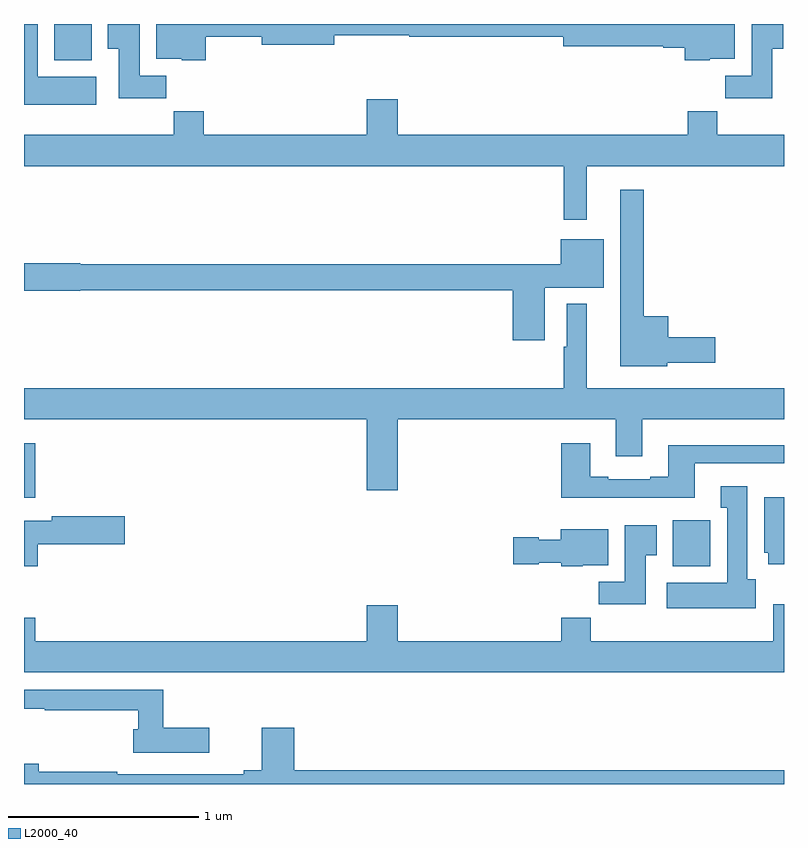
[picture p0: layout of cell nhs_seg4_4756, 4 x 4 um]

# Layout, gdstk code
import gdstk
lib = gdstk.Library(unit=1e-6, precision=1e-09)
def R(c, l, rs):  # rectangles x0, y0, x1, y1
    for r in rs: c.add(gdstk.rectangle(r[:2], r[2:], *l))
def P(c, l, *ps):  # polygons
    for p in ps: c.add(gdstk.Polygon(p, *l))
L2000_40 = (2000, 40)

nhs_seg4_4756 = lib.new_cell('nhs_seg4_4756')
R(nhs_seg4_4756, L2000_40, [(370.415,796.046,370.612,796.288), (367,796.406,367.058,796.693), (367.16,798.71,367.357,798.9)])
P(nhs_seg4_4756, L2000_40, [(367.748,798.628),(367.609,798.628),(367.609,798.9),(367.442,798.9),(367.442,798.769),(367.499,798.769),(367.499,798.51),(367.748,798.51)],
  [(367.381,798.622),(367.072,798.622),(367.072,798.9),(367,798.9),(367,798.476),(367.381,798.476)],
  [(370.939,798.769),(370.996,798.769),(370.996,798.9),(370.829,798.9),(370.829,798.628),(370.69,798.628),(370.69,798.51),(370.939,798.51)],
  [(367.956,798.832),(368.252,798.832),(368.252,798.79),(368.632,798.79),(368.632,798.84),(369.028,798.84),(369.028,798.832),(369.837,798.832),(369.837,798.783),(370.365,798.783),(370.365,798.775),(370.478,798.775),(370.478,798.71),(370.608,798.71),(370.608,798.716),(370.741,798.716),(370.741,798.9),(367.697,798.9),(367.697,798.716),(367.83,798.716),(367.83,798.71),(367.956,798.71)],
  [(369.961,798.152),(371,798.152),(371,798.316),(370.649,798.316),(370.649,798.44),(370.493,798.44),(370.493,798.316),(368.968,798.316),(368.968,798.505),(368.804,798.505),(368.804,798.316),(367.946,798.316),(367.946,798.44),(367.789,798.44),(367.789,798.316),(367,798.316),(367,798.152),(369.84,798.152),(369.84,797.871),(369.961,797.871)],
  [(370.386,797.117),(370.639,797.117),(370.639,797.252),(370.39,797.252),(370.39,797.362),(370.261,797.362),(370.261,798.028),(370.139,798.028),(370.139,797.099),(370.386,797.099)],
  [(369.742,797.513),(370.051,797.513),(370.051,797.767),(369.824,797.767),(369.824,797.636),(367.296,797.636),(367.296,797.642),(367,797.642),(367,797.495),(367.296,797.495),(367.296,797.5),(369.572,797.5),(369.572,797.235),(369.742,797.235)],
  [(368.968,796.82),(370.115,796.82),(370.115,796.626),(370.255,796.626),(370.255,796.82),(371,796.82),(371,796.984),(369.961,796.984),(369.961,797.428),(369.857,797.428),(369.857,797.201),(369.84,797.201),(369.84,796.984),(367,796.984),(367,796.82),(368.804,796.82),(368.804,796.446),(368.968,796.446)],
  [(370.531,796.587),(371,796.587),(371,796.684),(370.391,796.684),(370.391,796.516),(370.295,796.516),(370.295,796.503),(370.075,796.503),(370.075,796.516),(369.979,796.516),(369.979,796.693),(369.827,796.693),(369.827,796.406),(370.531,796.406)],
  [(370.852,795.978),(370.807,795.978),(370.807,796.468),(370.667,796.468),(370.667,796.355),(370.7,796.355),(370.7,795.958),(370.383,795.958),(370.383,795.824),(370.852,795.824)],
  [(371,796.408),(370.895,796.408),(370.895,796.116),(370.916,796.116),(370.916,796.056),(371,796.056)],
  [(367.073,796.163),(367.531,796.163),(367.531,796.31),(367.146,796.31),(367.146,796.285),(367,796.285),(367,796.046),(367.073,796.046)],
  [(370.273,796.105),(370.33,796.105),(370.33,796.261),(370.163,796.261),(370.163,795.964),(370.024,795.964),(370.024,795.846),(370.273,795.846)],
  [(369.942,796.052),(370.075,796.052),(370.075,796.24),(369.824,796.24),(369.824,796.186),(369.708,796.186),(369.708,796.199),(369.576,796.199),(369.576,796.057),(369.708,796.057),(369.708,796.064),(369.828,796.064),(369.828,796.046),(369.942,796.046)],
  [(371,795.847),(370.943,795.847),(370.943,795.652),(369.983,795.652),(369.983,795.776),(369.827,795.776),(369.827,795.652),(368.968,795.652),(368.968,795.841),(368.804,795.841),(368.804,795.652),(367.058,795.652),(367.058,795.776),(367,795.776),(367,795.488),(371,795.488)],
  [(367.975,795.195),(367.733,795.195),(367.733,795.396),(367,795.396),(367,795.295),(367.11,795.295),(367.11,795.288),(367.601,795.288),(367.601,795.187),(367.574,795.187),(367.574,795.065),(367.975,795.065)],
  [(371,794.972),(368.423,794.972),(368.423,795.196),(368.252,795.196),(368.252,794.972),(368.156,794.972),(368.156,794.952),(367.49,794.952),(367.49,794.965),(367.078,794.965),(367.078,795.007),(367,795.007),(367,794.9),(371,794.9)])

lib.write_gds('nhs_seg4_4756.gds')
